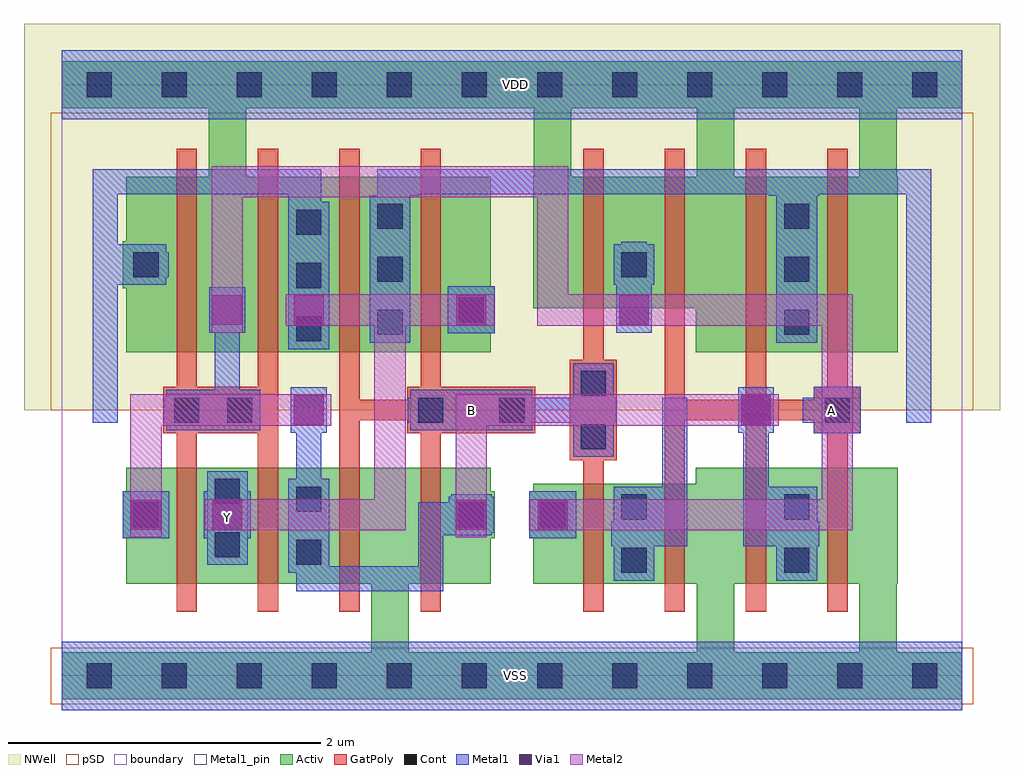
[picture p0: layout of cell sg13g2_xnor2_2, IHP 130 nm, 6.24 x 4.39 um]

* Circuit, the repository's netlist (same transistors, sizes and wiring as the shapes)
.SUBCKT sg13g2_xnor2_2 Y A B VDD VSS
*.PININFO A:I B:I Y:O VDD:B VSS:B
MP4 Y net1 VDD VDD sg13_lv_pmos w=2.24u l=130.00n ng=2
MP3 Y B net4 VDD sg13_lv_pmos w=2.24u l=130.00n ng=2
MP2 net4 A VDD VDD sg13_lv_pmos w=2.24u l=130.00n ng=2
MP1 net1 B VDD VDD sg13_lv_pmos w=840.00n l=130.00n ng=1
MP0 net1 A VDD VDD sg13_lv_pmos w=840.00n l=130.00n ng=1
MN3 Y net1 net3 VSS sg13_lv_nmos w=1.48u l=130.00n ng=2
MN1 net2 A VSS VSS sg13_lv_nmos w=640.00n l=130.00n ng=1
MN0 net1 B net2 VSS sg13_lv_nmos w=640.00n l=130.00n ng=1
MN4 net3 B VSS VSS sg13_lv_nmos w=1.48u l=130.00n ng=2
MN2 net3 A VSS VSS sg13_lv_nmos w=1.48u l=130.00n ng=2
.ENDS

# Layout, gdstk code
import gdstk
lib = gdstk.Library(unit=1e-6, precision=1e-09)
def R(c, l, rs):  # rectangles x0, y0, x1, y1
    for r in rs: c.add(gdstk.rectangle(r[:2], r[2:], *l))
def A(c, l, x, y, w, h, nx, ny, dx, dy):  # array of equal rectangles
    R(c, l, [(x+i*dx, y+j*dy, x+i*dx+w, y+j*dy+h) for i in range(nx) for j in range(ny)])
def P(c, l, *ps):  # polygons
    for p in ps: c.add(gdstk.Polygon(p, *l))
Activ = (1, 0)
GatPoly = (5, 0)
Cont = (6, 0)
Metal1 = (8, 0)
Metal1_pin = (8, 2)
Metal2 = (10, 0)
pSD = (14, 0)
Via1 = (19, 0)
NWell = (31, 0)
boundary = (189, 4)

sg13g2_xnor2_2 = lib.new_cell('sg13g2_xnor2_2')
P(sg13g2_xnor2_2, Activ, [(4.3,0.59),(4.3,1.33),(4.055,1.33),(4.055,1.23),(3.015,1.23),(3.015,1.18),(2.99,1.18),(2.99,0.88),(3.015,0.88),(3.015,0.59),(4.06,0.59),(4.06,0.15),(2.22,0.15),(2.22,0.59),(2.745,0.59),(2.745,0.88),(2.77,0.88),(2.77,1.18),(2.745,1.18),(2.745,1.33),(0.415,1.33),(0.415,1.18),(0.39,1.18),(0.39,0.88),(0.415,0.88),(0.415,0.59),(1.98,0.59),(1.98,0.15),(0,0.15),(0,-0.15),(4.3,-0.15),(4.3,0.59),(5.1,0.59),(5.1,0.15),(4.3,0.15),(4.3,-0.15),(5.76,-0.15),(5.76,0.15),(5.34,0.15),(5.34,0.59),(5.345,0.59),(5.345,1.33),(4.3,1.33)],
  [(3.26,3.63),(3.26,3.93),(0,3.93),(0,3.63),(0.94,3.63),(0.94,3.19),(0.415,3.19),(0.415,2.78),(0.39,2.78),(0.39,2.48),(0.415,2.48),(0.415,2.07),(2.745,2.07),(2.745,2.19),(2.77,2.19),(2.77,2.49),(2.745,2.49),(2.745,3.19),(1.18,3.19),(1.18,3.63),(3.02,3.63),(3.02,3.19),(3.015,3.19),(3.015,2.35),(3.26,2.35),(4.055,2.35),(4.055,2.07),(5.345,2.07),(5.345,3.19),(3.26,3.19),(3.26,2.35),(3.26,3.63),(4.06,3.63),(4.06,3.19),(4.3,3.19),(4.3,3.63),(5.1,3.63),(5.1,3.19),(5.34,3.19),(5.34,3.63),(5.76,3.63),(5.76,3.93),(3.26,3.93)])
P(sg13g2_xnor2_2, GatPoly, [(0.65,1.55),(0.735,1.55),(0.735,0.41),(0.865,0.41),(0.865,1.55),(1.255,1.55),(1.255,0.41),(1.385,0.41),(1.385,3.37),(1.255,3.37),(1.255,1.85),(0.865,1.85),(0.865,3.37),(0.735,3.37),(0.735,1.85),(0.65,1.85)],
  [(1.775,0.41),(1.905,0.41),(1.905,1.635),(2.21,1.635),(2.21,1.55),(2.295,1.55),(2.295,0.41),(2.425,0.41),(2.425,1.55),(3.03,1.55),(3.03,1.85),(2.425,1.85),(2.425,3.37),(2.295,3.37),(2.295,1.85),(2.21,1.85),(2.21,1.765),(1.905,1.765),(1.905,3.37),(1.775,3.37)],
  [(3.25,1.38),(3.335,1.38),(3.335,0.41),(3.465,0.41),(3.465,1.38),(3.55,1.38),(3.55,2.02),(3.465,2.02),(3.465,3.37),(3.335,3.37),(3.335,2.02),(3.25,2.02)],
  [(3.855,0.41),(3.985,0.41),(3.985,1.635),(4.375,1.635),(4.375,0.41),(4.505,0.41),(4.505,1.635),(4.81,1.635),(4.81,1.55),(4.895,1.55),(4.895,0.41),(5.025,0.41),(5.025,1.55),(5.11,1.55),(5.11,1.85),(5.025,1.85),(5.025,3.37),(4.895,3.37),(4.895,1.85),(4.81,1.85),(4.81,1.765),(4.505,1.765),(4.505,3.37),(4.375,3.37),(4.375,1.765),(3.985,1.765),(3.985,3.37),(3.855,3.37)])
A(sg13g2_xnor2_2, Cont, 0.16, -0.08, 0.16, 0.16, 12, 2, 0.48, 3.78)
A(sg13g2_xnor2_2, Cont, 1.5, 2.14, 0.16, 0.16, 1, 3, 0, 0.34)
A(sg13g2_xnor2_2, Cont, 2.02, 2.18, 0.16, 0.16, 1, 3, 0, 0.34)
A(sg13g2_xnor2_2, Cont, 4.62, 2.18, 0.16, 0.16, 1, 3, 0, 0.34)
R(sg13g2_xnor2_2, Cont, [(3.58,0.66,3.74,0.82), (4.62,0.66,4.78,0.82), (1.5,0.71,1.66,0.87), (0.98,0.76,1.14,0.92), (0.46,0.95,0.62,1.11), (2.54,0.95,2.7,1.11), (3.06,0.95,3.22,1.11), (3.58,1,3.74,1.16), (4.62,1,4.78,1.16), (1.5,1.05,1.66,1.21), (0.98,1.1,1.14,1.26), (3.32,1.45,3.48,1.61), (0.72,1.62,0.88,1.78), (1.06,1.62,1.22,1.78), (2.28,1.62,2.44,1.78), (2.8,1.62,2.96,1.78), (4.88,1.62,5.04,1.78), (3.32,1.79,3.48,1.95), (2.54,2.26,2.7,2.42), (0.46,2.55,0.62,2.71), (3.58,2.55,3.74,2.71)])
R(sg13g2_xnor2_2, Metal1, [(0,-0.22,5.76,0.22), (0.39,0.88,0.69,1.18), (2.99,0.88,3.29,1.18), (2.47,2.19,2.77,2.49), (0,3.56,5.76,4)])
P(sg13g2_xnor2_2, Metal1, [(0.2,1.62),(0.36,1.62),(0.36,2.5),(0.67,2.5),(0.67,2.55),(0.685,2.55),(0.685,2.71),(0.67,2.71),(0.67,2.76),(0.36,2.76),(0.36,3.08),(1.45,3.08),(1.45,2.09),(1.71,2.09),(1.71,3.03),(1.66,3.03),(1.66,3.24),(0.2,3.24)],
  [(0.655,1.62),(0.67,1.62),(0.67,1.57),(1.27,1.57),(1.27,1.83),(1.14,1.83),(1.14,2.195),(1.175,2.195),(1.175,2.485),(0.945,2.485),(0.945,2.195),(0.98,2.195),(0.98,1.83),(0.67,1.83),(0.67,1.78),(0.655,1.78)],
  [(0.91,0.88),(0.93,0.88),(0.93,0.71),(1.19,0.71),(1.19,0.88),(1.21,0.88),(1.21,1.18),(1.19,1.18),(1.19,1.31),(0.93,1.31),(0.93,1.18),(0.91,1.18)],
  [(1.45,0.66),(1.5,0.66),(1.5,0.54),(2.44,0.54),(2.44,0.9),(2.75,0.9),(2.75,0.915),(2.765,0.915),(2.765,1.145),(2.75,1.145),(2.75,1.16),(2.49,1.16),(2.49,1.145),(2.475,1.145),(2.475,1.11),(2.28,1.11),(2.28,0.7),(1.71,0.7),(1.71,1.26),(1.66,1.26),(1.66,1.555),(1.695,1.555),(1.695,1.845),(1.465,1.845),(1.465,1.555),(1.5,1.555),(1.5,1.26),(1.45,1.26)],
  [(1.97,2.13),(2.23,2.13),(2.23,3.07),(2.28,3.07),(2.28,3.08),(4.52,3.08),(4.52,3.07),(4.57,3.07),(4.57,2.13),(4.83,2.13),(4.83,3.07),(4.845,3.07),(4.845,3.08),(5.4,3.08),(5.4,1.62),(5.56,1.62),(5.56,3.24),(2.02,3.24),(2.02,3.07),(1.97,3.07)],
  [(2.215,1.62),(2.23,1.62),(2.23,1.57),(3.01,1.57),(3.01,1.62),(3.27,1.62),(3.27,1.4),(3.53,1.4),(3.53,1.62),(3.545,1.62),(3.545,1.78),(3.53,1.78),(3.53,2),(3.27,2),(3.27,1.78),(3.01,1.78),(3.01,1.83),(2.23,1.83),(2.23,1.78),(2.215,1.78)],
  [(3.515,0.83),(3.53,0.83),(3.53,0.61),(3.79,0.61),(3.79,0.83),(4,0.83),(4,1.78),(3.84,1.78),(3.84,1.21),(3.53,1.21),(3.53,0.99),(3.515,0.99)],
  [(3.53,2.5),(3.545,2.5),(3.545,2.195),(3.775,2.195),(3.775,2.5),(3.79,2.5),(3.79,2.76),(3.74,2.76),(3.74,2.775),(3.58,2.775),(3.58,2.76),(3.53,2.76)],
  [(4.325,1.555),(4.36,1.555),(4.36,0.83),(4.57,0.83),(4.57,0.61),(4.83,0.61),(4.83,0.83),(4.845,0.83),(4.845,0.99),(4.83,0.99),(4.83,1.21),(4.52,1.21),(4.52,1.555),(4.555,1.555),(4.555,1.845),(4.325,1.845)],
  [(4.74,1.62),(4.81,1.62),(4.81,1.55),(5.11,1.55),(5.11,1.85),(4.81,1.85),(4.81,1.78),(4.74,1.78)])
R(sg13g2_xnor2_2, Metal1_pin, [(0,-0.22,5.76,0.22), (0.93,0.71,1.19,1.31), (2.23,1.57,3.01,1.83), (4.74,1.62,5.11,1.78), (0,3.56,5.76,4)])
P(sg13g2_xnor2_2, Metal2, [(0.44,0.885),(0.64,0.885),(0.64,1.6),(1.725,1.6),(1.725,1.8),(0.44,1.8)],
  [(0.915,0.93),(2.2,0.93),(2.2,2.24),(2.765,2.24),(2.765,2.44),(1.435,2.44),(1.435,2.24),(2,2.24),(2,1.13),(0.915,1.13)],
  [(0.96,2.195),(1.16,2.195),(1.16,3.06),(3.04,3.06),(3.04,2.24),(4.86,2.24),(4.86,1.13),(2.995,1.13),(2.995,0.93),(5.06,0.93),(5.06,2.44),(3.24,2.44),(3.24,3.26),(0.96,3.26)],
  [(2.52,0.885),(2.72,0.885),(2.72,1.6),(4.585,1.6),(4.585,1.8),(2.52,1.8)])
R(sg13g2_xnor2_2, pSD, [(-0.07,-0.18,5.83,0.18), (-0.07,1.7,5.83,3.6)])
A(sg13g2_xnor2_2, Via1, 1.485, 2.245, 0.19, 0.19, 3, 1, 1.04, 0)
R(sg13g2_xnor2_2, Via1, [(0.445,0.935,0.635,1.125), (0.965,0.935,1.155,1.125), (2.525,0.935,2.715,1.125), (3.045,0.935,3.235,1.125), (1.485,1.605,1.675,1.795), (4.345,1.605,4.535,1.795), (0.965,2.245,1.155,2.435)])
R(sg13g2_xnor2_2, NWell, [(-0.24,1.7,6,4.17)])
R(sg13g2_xnor2_2, boundary, [(0,0,5.76,3.78)])
sg13g2_xnor2_2.add(gdstk.Label('Y', (1.06,1.01), layer=8, texttype=25))
sg13g2_xnor2_2.add(gdstk.Label('B', (2.62,1.7), layer=8, texttype=25))
sg13g2_xnor2_2.add(gdstk.Label('A', (4.925,1.7), layer=8, texttype=25))
sg13g2_xnor2_2.add(gdstk.Label('VSS', (2.9,0), layer=8, texttype=25))
sg13g2_xnor2_2.add(gdstk.Label('VDD', (2.9,3.78), layer=8, texttype=25))

lib.write_gds('sg13g2_xnor2_2.gds')
